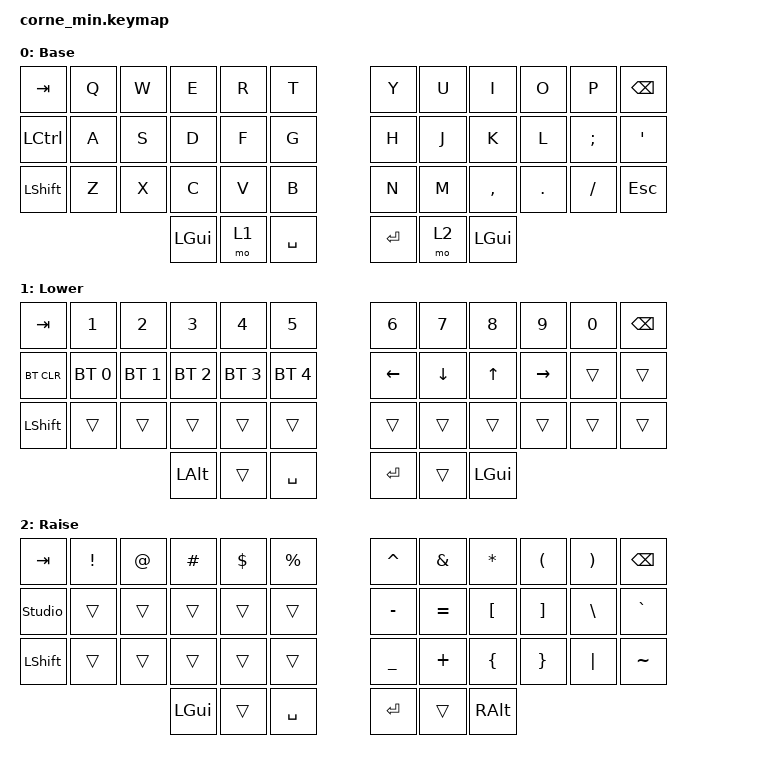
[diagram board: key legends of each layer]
/*
 * Copyright (c) 2020 The ZMK Contributors
 *
 * SPDX-License-Identifier: MIT
 */

#include <behaviors.dtsi>
#include <dt-bindings/zmk/keys.h>
#include <dt-bindings/zmk/bt.h>

/ {
        keymap {
                compatible = "zmk,keymap";

                default_layer {
                            display-name = "Base";
// -----------------------------------------------------------------------------------------
// |  TAB |  Q  |  W  |  E  |  R  |  T  |   |  Y  |  U   |  I  |  O  |  P  | BSPC |
// | CTRL |  A  |  S  |  D  |  F  |  G  |   |  H  |  J   |  K  |  L  |  ;  |  '   |
// | SHFT |  Z  |  X  |  C  |  V  |  B  |   |  N  |  M   |  ,  |  .  |  /  | ESC  |
//                    | GUI | LWR | SPC |   | ENT | RSE  | ALT |
                        bindings = <
   &kp TAB   &kp Q &kp W &kp E &kp R &kp T   &kp Y &kp U  &kp I     &kp O   &kp P    &kp BSPC
   &kp LCTRL &kp A &kp S &kp D &kp F &kp G   &kp H &kp J  &kp K     &kp L   &kp SEMI &kp SQT
   &kp LSHFT &kp Z &kp X &kp C &kp V &kp B   &kp N &kp M  &kp COMMA &kp DOT &kp FSLH &kp ESC
                  &kp LGUI &mo 1 &kp SPACE   &kp RET &mo 2 &kp LGUI
                        >;
                };
                lower_layer {
                        display-name = "Lower";
// -----------------------------------------------------------------------------------------
// |  TAB |  1  |  2  |  3  |  4  |  5  |   |  6  |  7  |  8  |  9  |  0  | BSPC |
// | BTCLR| BT1 | BT2 | BT3 | BT4 | BT5 |   | LFT | DWN |  UP | RGT |     |      |
// | SHFT |     |     |     |     |     |   |     |     |     |     |     |      |
//                    | GUI |     | SPC |   | ENT |     | ALT |
                        bindings = <
   &kp TAB    &kp N1       &kp N2       &kp N3       &kp N4       &kp N5         &kp N6   &kp N7   &kp N8 &kp N9    &kp N0 &kp BSPC
   &bt BT_CLR &bt BT_SEL 0 &bt BT_SEL 1 &bt BT_SEL 2 &bt BT_SEL 3 &bt BT_SEL 4   &kp LEFT &kp DOWN &kp UP &kp RIGHT &trans &trans
   &kp LSHIFT  &trans       &trans       &trans       &trans       &trans         &trans   &trans   &trans &trans    &trans &trans
                                    &kp LALT     &trans       &kp SPACE      &kp RET  &trans   &kp LGUI
                        >;
                };

                raise_layer {
                        display-name = "Raise";
// -----------------------------------------------------------------------------------------
// |  TAB |  !  |  @  |  #  |  $  |  %  |   |  ^  |  &  |  *  |  (  |  )  | BSPC |
// | CTRL |     |     |     |     |     |   |  -  |  =  |  [  |  ]  |  \  |  `   |
// | SHFT |     |     |     |     |     |   |  _  |  +  |  {  |  }  | "|" |  ~   |
//                    | GUI |     | SPC |   | ENT |     | ALT |
                        bindings = <
   &kp  TAB  &kp EXCL &kp AT &kp HASH &kp DLLR &kp PRCNT   &kp CARET &kp AMPS  &kp ASTRK &kp LPAR &kp RPAR &kp BSPC
   &studio_unlock &trans   &trans &trans   &trans   &trans      &kp MINUS &kp EQUAL &kp LBKT  &kp RBKT &kp BSLH &kp GRAVE
   &kp LSHFT &trans   &trans &trans   &trans   &trans      &kp UNDER &kp PLUS  &kp LBRC  &kp RBRC &kp PIPE &kp TILDE
                             &kp LGUI &trans   &kp SPACE   &kp RET   &trans    &kp RALT
                        >;
                };

                extra1 {
                        display-name = "Extra-1";
                        status = "reserved";
                };

                extra2 {
                        display-name = "Extra-2";
                        status = "reserved";
                };

                extra3 {
                        display-name = "Extra-3";
                        status = "reserved";
                };
        };
};
